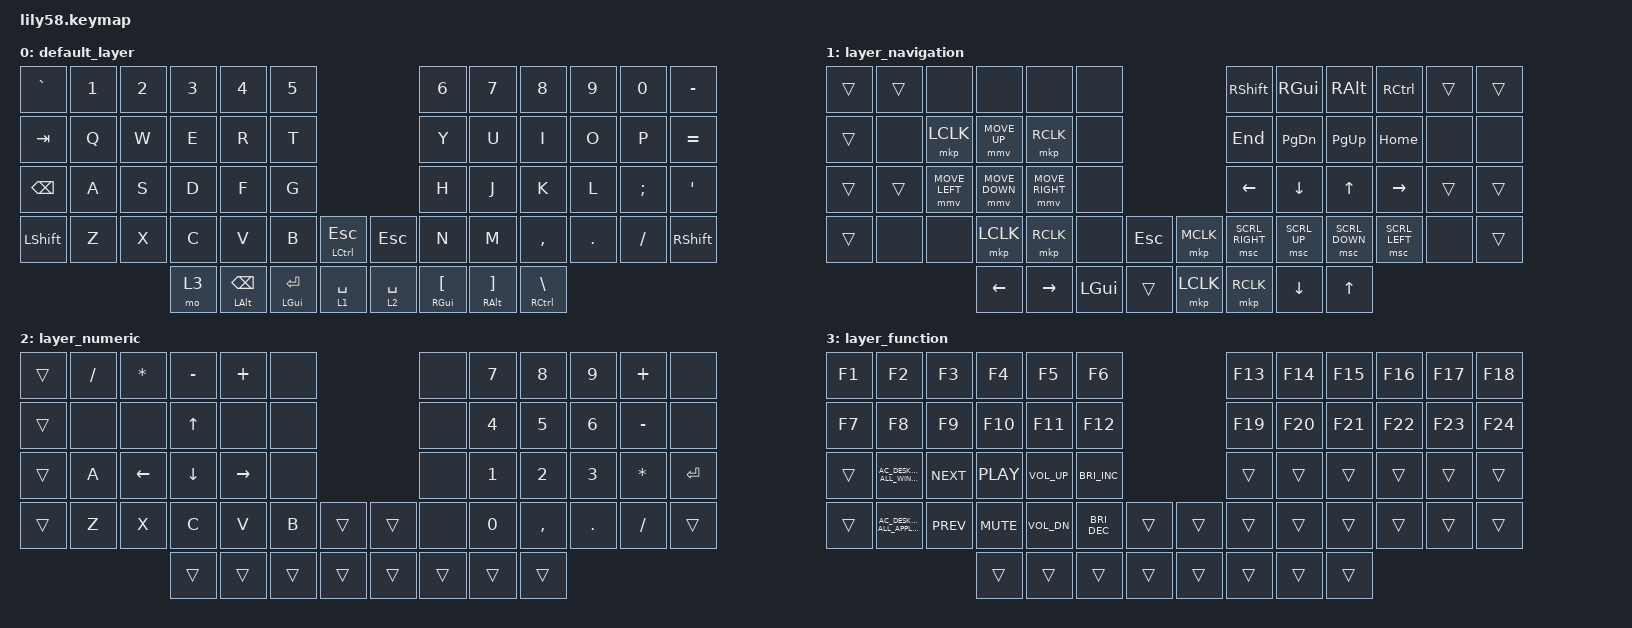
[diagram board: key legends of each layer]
/*
 * Copyright (c) 2020 The ZMK Contributors
 *
 * SPDX-License-Identifier: MIT
 */

#define ZMK_POINTING_DEFAULT_MOVE_VAL 1500  // default: 600
#define ZMK_POINTING_DEFAULT_SCRL_VAL 20    // default: 10

#include <behaviors.dtsi>
#include <dt-bindings/zmk/bt.h>
#include <dt-bindings/zmk/keys.h>
#include <dt-bindings/zmk/pointing.h>

/ {
    combos {
        compatible = "zmk,combos";

        cmb-esc {
            bindings = <&kp ESC>;
            key-positions = <0 1>;
            layers = <0>;
        };

        cmb-backspace {
            bindings = <&kp BACKSPACE>;
            key-positions = <10 11>;
            layers = <0>;
        };

        cmb-enter {
            bindings = <&kp ENTER>;
            key-positions = <34 35>;
            layers = <0>;
        };

        cmb-caps {
            bindings = <&kt CAPS>;
            key-positions = <24 25>;
            layers = <0>;
        };

        cmb-lang_change {
            bindings = <&kp C_AC_NEXT_KEYBOARD_LAYOUT_SELECT>;
            key-positions = <36 24>;
            layers = <0>;
        };

        cmb-bt_prv {
            bindings = <&bt BT_PRV>;
            key-positions = <12 13 14 15 52>;
            layers = <0>;
        };

        cmb-bt_nxt {
            bindings = <&bt BT_NXT>;
            key-positions = <12 13 14 15 53>;
            layers = <0>;
        };

        cmb-bt_clr {
            bindings = <&bt BT_CLR>;
            key-positions = <12 13 15 14 42>;
            layers = <0>;
        };
    };

    keymap {
        compatible = "zmk,keymap";

        default_layer {
            // ------------------------------------------------------------------------------------------------------------
            // |  ESC  |  1  |  2  |  3   |  4   |  5   |                   |  6   |  7    |  8    |  9   |   0   |   `   |
            // |  TAB  |  Q  |  W  |  E   |  R   |  T   |                   |  Y   |  U    |  I    |  O   |   P   |   -   |
            // |  CTRL |  A  |  S  |  D   |  F   |  G   |                   |  H   |  J    |  K    |  L   |   ;   |   '   |
            // | SHIFT |  Z  |  X  |  C   |  V   |  B   |   "["  |  |  "]"  |  N   |  M    |  ,    |  .   |   /   | SHIFT |
            //                     | ALT  | GUI  | LOWER|  SPACE |  | ENTER | RAISE| BSPC  | GUI   |

            bindings = <
&kp GRAVE      &kp N1  &kp N2  &kp N3  &kp N4              &kp N5                                        &kp N6         &kp N7         &kp N8          &kp N9   &kp N0    &kp MINUS
&kp TAB        &kp Q   &kp W   &kp E   &kp R               &kp T                                         &kp Y          &kp U          &kp I           &kp O    &kp P     &kp EQUAL
&kp BACKSPACE  &kp A   &kp S   &kp D   &kp F               &kp G                                         &kp H          &kp J          &kp K           &kp L    &kp SEMI  &kp SQT
&kp LSHIFT     &kp Z   &kp X   &kp C   &kp V               &kp B           &mt LCTRL ESC    &kp ESCAPE   &kp N          &kp M          &kp COMMA       &kp DOT  &kp FSLH  &kp RSHIFT
                               &mo 3   &mt LALT BACKSPACE  &mt LGUI ENTER  &lt 1 SPACE      &lt 2 SPACE  &mt RGUI LBKT  &mt RALT RBKT  &mt RCTRL BSLH
            >;
        };

        layer_navigation {
            bindings = <
&trans  &trans  &none           &none           &none            &none                               &kp RSHIFT       &kp RGUI        &kp RALT        &kp RCTRL        &trans  &trans
&trans  &none   &mkp LCLK       &mmv MOVE_UP    &mkp RCLK        &none                               &kp END          &kp PAGE_DOWN   &kp PAGE_UP     &kp HOME         &none   &none
&trans  &trans  &mmv MOVE_LEFT  &mmv MOVE_DOWN  &mmv MOVE_RIGHT  &none                               &kp LEFT_ARROW   &kp DOWN_ARROW  &kp UP_ARROW    &kp RIGHT_ARROW  &trans  &trans
&trans  &none   &none           &mkp LCLK       &mkp RCLK        &none         &kp ESC    &mkp MCLK  &msc SCRL_RIGHT  &msc SCRL_UP    &msc SCRL_DOWN  &msc SCRL_LEFT   &none   &trans
                                &kp LEFT_ARROW  &kp RIGHT_ARROW  &kp LEFT_GUI  &trans     &mkp LCLK  &mkp RCLK        &kp DOWN_ARROW  &kp UP_ARROW
            >;
        };

        layer_numeric {
            bindings = <
&trans  &kp SLASH  &kp ASTERISK    &kp MINUS       &kp PLUS         &none                     &none   &kp N7  &kp N8     &kp N9      &kp PLUS      &none
&trans  &none      &none           &kp UP_ARROW    &none            &none                     &none   &kp N4  &kp N5     &kp N6      &kp MINUS     &none
&trans  &kp A      &kp LEFT_ARROW  &kp DOWN_ARROW  &kp RIGHT_ARROW  &none                     &none   &kp N1  &kp N2     &kp N3      &kp ASTERISK  &kp ENTER
&trans  &kp Z      &kp X           &kp C           &kp V            &kp B   &trans    &trans  &none   &kp N0  &kp COMMA  &kp PERIOD  &kp SLASH     &trans
                                   &trans          &trans           &trans  &trans    &trans  &trans  &trans  &trans
            >;
        };

        layer_function {
            bindings = <
&kp F1  &kp F2                                  &kp F3      &kp F4      &kp F5           &kp F6                                  &kp F13  &kp F14  &kp F15  &kp F16  &kp F17  &kp F18
&kp F7  &kp F8                                  &kp F9      &kp F10     &kp F11          &kp F12                                 &kp F19  &kp F20  &kp F21  &kp F22  &kp F23  &kp F24
&trans  &kp C_AC_DESKTOP_SHOW_ALL_WINDOWS       &kp C_NEXT  &kp C_PLAY  &kp C_VOLUME_UP  &kp C_BRIGHTNESS_INC                    &trans   &trans   &trans   &trans   &trans   &trans
&trans  &kp C_AC_DESKTOP_SHOW_ALL_APPLICATIONS  &kp C_PREV  &kp K_MUTE  &kp C_VOL_DN     &kp C_BRIGHTNESS_DEC  &trans    &trans  &trans   &trans   &trans   &trans   &trans   &trans
                                                            &trans      &trans           &trans                &trans    &trans  &trans   &trans   &trans
            >;
        };
    };
};
